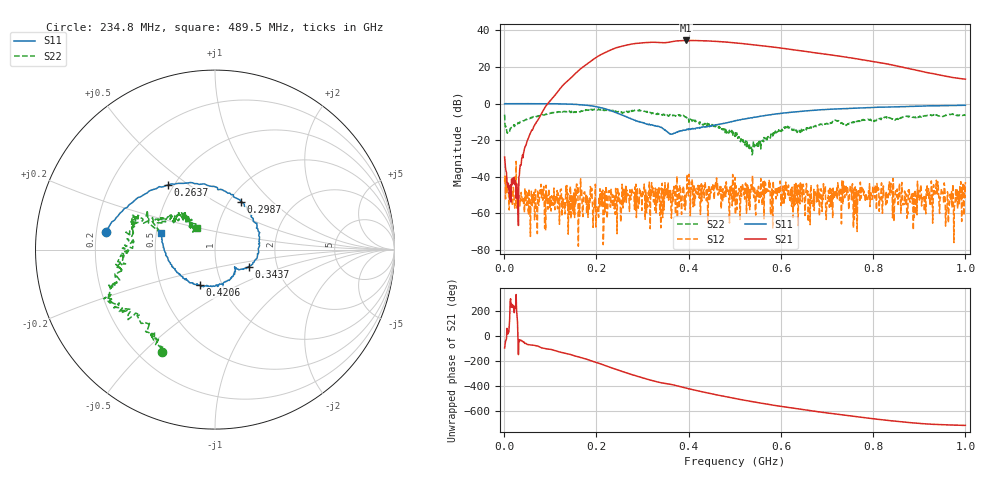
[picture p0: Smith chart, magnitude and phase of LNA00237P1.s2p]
! Created with skrf 1.9.0 (http://scikit-rf.org).
# Hz S RI R 50.0
!freq ReS11 ImS11 ReS21 ImS21 ReS12 ImS12 ReS22 ImS22
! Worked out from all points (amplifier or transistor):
!   1001 points, 1 MHz to 1 GHz, reference 50 ohm
!   highest |S21| = 34.5 dB at 394.6 MHz (marker M1)
!   |S21| within 3 dB of that: 257.1 MHz to 563.1 MHz (306 MHz wide, 74.6 % of centre)
!   unconditionally stable (mu >= 1): 3.645 MHz to 99.49 MHz; 285.8 MHz to 374.4 MHz; 396.9 MHz to end of sweep (the widest 3 of 23)
!   at 166.8 MHz: K = 1.66, MAG = 30.3 dB, |S12| = -50.8 dB
!   at 500.5 MHz: K = 1.17, MAG = 34.3 dB, |S12| = -40.4 dB
!   at 1 GHz: K = 1.77, MAG = 23.0 dB, |S12| = -42.9 dB
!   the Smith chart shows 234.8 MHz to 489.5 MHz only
!   S11 on the Smith chart (normalised r, x): 234.8 MHz: 0.24, +0.07; 263.7 MHz: 0.47, +0.42; 298.7 MHz: 1.12, +0.66; 343.7 MHz: 1.43, -0.28; 420.6 MHz: 0.78, -0.32; 489.5 MHz: 0.53, +0.11
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1000000  0.9785 0.00855  -0.00615 -0.0342  -0.00537 0.00521  0.3915 0.307
1.08892e8  0.4987 -0.8567  -0.7861 -1.423  0.00187 0.000842  0.4221 -0.3714
1.67833e8  -0.2761 -0.8857  -9.389 -0.4425  0.00463 -0.000619  0.0355 -0.637
2.06794e8  -0.6862 -0.3877  -15.07 14.41  0.00129 0.00083  -0.1682 -0.651
2.34766e8  -0.61 0.096  -5.129 30.42  0.0015 -0.000125  -0.2934 -0.5717
2.63737e8  -0.2601 0.3604  17.77 35.05  -0.00596 -0.00108  -0.4427 -0.3537
2.98702e8  0.1421 0.2677  42 18.02  -0.000848 0.00086  -0.5797 -0.2506
3.17683e8  0.2377 0.1172  47.18 2.661  -0.00306 0.00311  -0.5518 -0.1396
3.34666e8  0.2361 -0.0383  45.95 -10.52  -0.00176 0.00231  -0.51 -0.0461
3.43657e8  0.1867 -0.0944  43.68 -15.78  0.000748 -0.000162  -0.5037 0.00827
3.7063e8  0.1123 -0.1076  40.24 -31.75  -0.00229 0.000205  -0.4454 0.1449
3.94606e8  0.0475 -0.1843  26.06 -46.53  0.00297 -0.00113  -0.3982 0.147
4.2058e8  -0.0861 -0.1976  6.347 -52.42  0.0055 0.0019  -0.2543 0.1614
4.51549e8  -0.2219 -0.1068  -15.25 -48.56  0.00404 0.000653  -0.1666 0.2053
4.89511e8  -0.2999 0.0951  -33.98 -32.7  0.00515 0.000976  -0.098 0.1199
5.005e8  -0.3015 0.1594  -37.2 -27.23  0.00729 0.00617  -0.0834 0.0957
5.36464e8  -0.2124 0.3512  -40.21 -8.437  0.00388 -0.00171  -0.0541 0.0288
5.84416e8  0.00242 0.5113  -33.51 10.64  0.00337 -0.000954  -0.1218 -0.055
6.67333e8  0.4187 0.5004  -11.36 22.43  -0.00096 -0.002  -0.2235 -0.0376
7.53247e8  0.6908 0.2738  4.346 17.07  -0.000211 -0.00235  -0.3026 0.0138
8.34166e8  0.8057 0.00596  9.092 7.662  -0.00669 -0.00056  -0.407 0.0421
1e9  0.7238 -0.5378  4.675 0.0635  -0.00397 0.00598  -0.3016 0.3821
